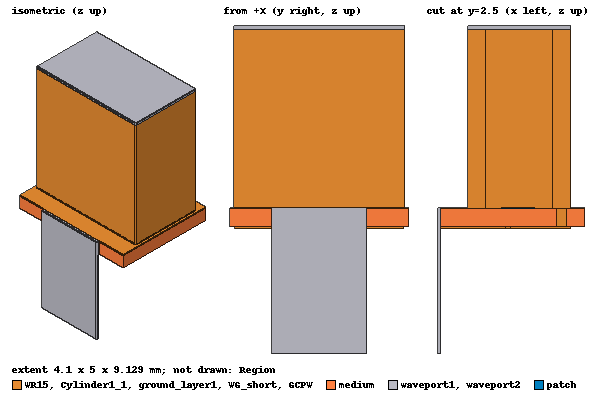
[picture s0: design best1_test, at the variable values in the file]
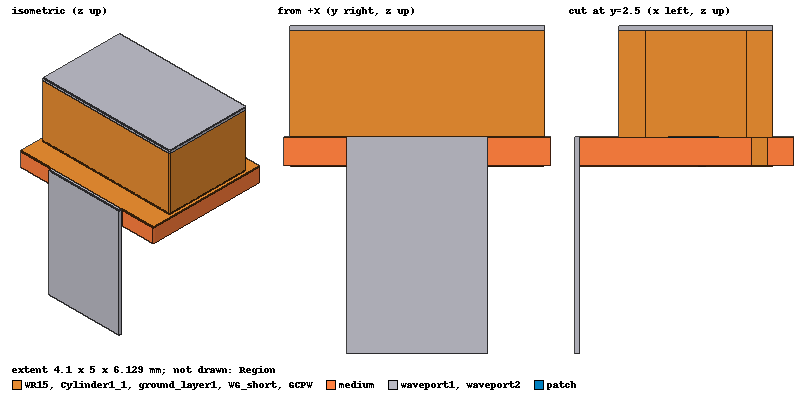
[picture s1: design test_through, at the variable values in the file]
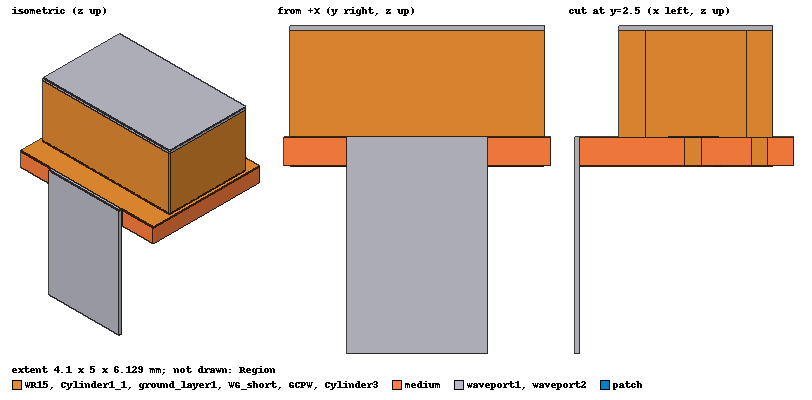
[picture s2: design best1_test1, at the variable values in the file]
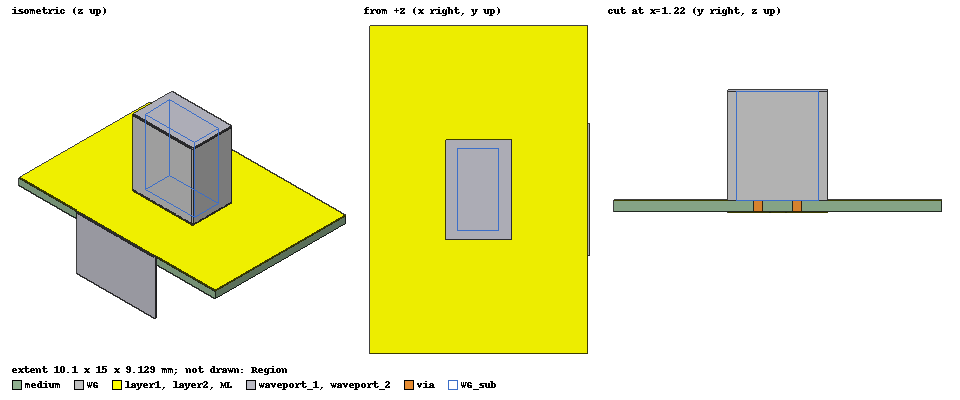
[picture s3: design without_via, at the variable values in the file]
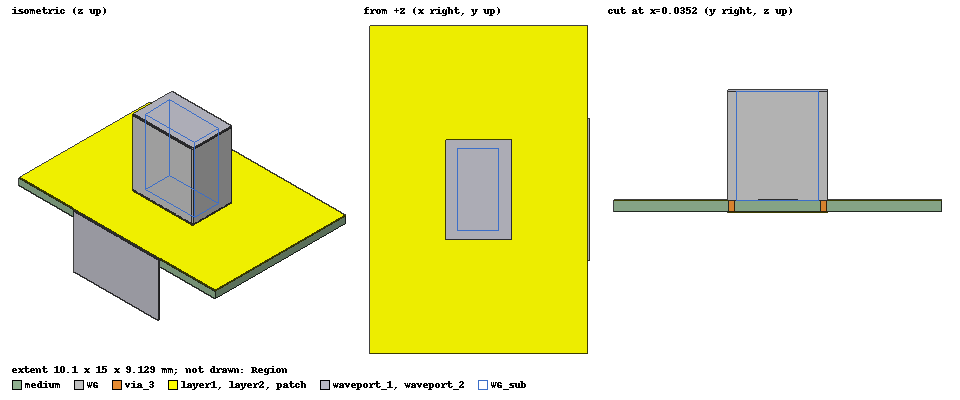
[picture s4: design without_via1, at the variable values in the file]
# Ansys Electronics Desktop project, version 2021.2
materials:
  Rogers RO4350 (tm): permittivity=3.66 dielectric_loss_tangent=0.004
  air: permittivity=1.0006 permeability=1.0000004
  copper: permeability=0.999991 conductivity=58000000
  pec: conductivity=1e+30
  vacuum: permittivity=1
  Rogers RO4003 (tm): permittivity=3.55 dielectric_loss_tangent=0.0027
  Material1: permittivity=2.2 dielectric_loss_tangent=0.001

design best (HFSS, DrivenModal, model units mm)
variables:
  m_width = 5mm
  m_length = 4mm
  line_thickness = 35um
  via_radius = 0.16mm
  WG_width = 3.76mm
  WG_high = 2mm
  WG_length = 1.88mm
  m_thickness = (20*0.0254) mm
  ML_length = 2mm
  ML_width = 0.53mm
  metal_thickness = 0.035mm
  WR_high = 2mm
  patch_length = 0.95mm
  patch_width = 2mm
  through_space = 0.3mm
  patch_WG_trough = 0.21mm
  WG_short = WG_length + via_radius*6
  WG_short_length = WG_short
  WG_short_width = WG_width + via_radius *6
  WG_thickness = 0.5mm
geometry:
  medium [Rogers RO4003 (tm)] = box(corner=(0mm, 0mm, 0mm), size=(m_length, m_width, m_thickness))
  GCPW = box(corner=(m_length - ML_length, ( m_width - ML_width ) / 2, -metal_thickness), size=(ML_length - 0.5 mm, ML_width, metal_thickness))
  WR15_sub = box(corner=(m_length - 2.9 mm - patch_WG_trough, ( m_width - WG_width ) / 2, m_thickness), size=(WG_length, WG_width, WG_high))
  WR15 [copper] = box(corner=(m_length -  2 mm- WG_thickness - 0.9 mm - patch_WG_trough, ( m_width - (WG_width + WG_thickness *2) ) / 2, m_thickness), size=(WG_length + WG_thickness *2, WG_width + WG_thickness *2, WG_high))
  ground_layer1 [copper] = box(corner=(0mm, 0mm, m_thickness), size=(m_length, m_width, line_thickness))
  patch [copper] = box(corner=(m_length - 2.4mm+ patch_WG_trough  - patch_WG_trough - 0.2mm, ( m_width - patch_width) / 2, m_thickness), size=(patch_length, patch_width, line_thickness))
  waveport1 [pec] = box(corner=(m_length -  2 mm - WG_thickness - 0.9 mm - patch_WG_trough, ( m_width - (WG_width + WG_thickness*2) ) / 2, m_thickness+WR_high), size=(WG_length + 2*WG_thickness, WG_width + 2*WG_thickness, 0.1mm))
  Rectangle1 = rectangle(corner=(m_length -  2.9 mm - patch_WG_trough -WG_thickness, ( m_width - WG_width ) / 2  -WG_thickness, m_thickness+WR_high), x_size=WG_length +WG_thickness*2, y_size=WG_width +WG_thickness*2)
  Rectangle2 = rectangle(corner=(m_length, (m_width - 5* 0.53 mm)/2, -8*m_thickness+m_thickness+line_thickness), y_size=5* 0.53 mm, z_size=8* m_thickness)
  waveport2 [pec] = box(corner=(m_length, (m_width - 5* 0.53 mm)/2, -8*m_thickness+m_thickness+line_thickness), size=(0.1mm, 5* 0.53 mm, 8*m_thickness))
  Region [air] = region(percentage_offset=20 on all sides)
  ML_trough = box(corner=(m_length - ML_length - through_space*0.5, ( m_width - ML_width ) / 2 - through_space, -line_thickness), size=(ML_length+ through_space*0.5, ML_width+ through_space*2, metal_thickness))
  WG_short [copper] = box(corner=(m_length -  3.4mm - patch_WG_trough, ( m_width - WG_short_width) / 2, -line_thickness), size=(WG_short_length, WG_short_width, line_thickness))
  ML_2 = GCPW.copy()
  ML_trough_1 = ML_trough.copy()
  ML_trough.delete()
  WG_short.subtract(ML_2, ML_trough_1)
  WR15_sub_1 = WR15_sub.copy()
  WR15.subtract(WR15_sub_1)
  WR15_1 = WR15.copy()
  WR15_sub_2 = WR15_sub.copy()
  WR15_sub.delete()
  ground_layer1.subtract(WR15_1, WR15_sub_2)
  Cylinder1 = cylinder(axis=Z, base_centre=(m_length -  3.15mm - patch_WG_trough, ( m_width - WG_short_width) / 2  + via_radius*1.5, 0), radius=via_radius, height=m_thickness)
  Cylinder1_1 [copper] = Cylinder1.duplicate_along_line(step=(0.4mm, 0mm, 0mm), total=7)  # copies kept: 1
  Cylinder1_7..Cylinder1_16 = Cylinder1.duplicate_along_line(step=(0mm, 0.41mm, 0mm), total=11)
  Cylinder1_7.unite(Cylinder1_8..Cylinder1_16, Cylinder1)
  Cylinder1_1_1..Cylinder1_1_5 = Cylinder1_1.duplicate_along_line(step=(0.4mm, 0mm, 0mm), total=6)
  Cylinder1_1_5_1, Cylinder1_1_5_2 = Cylinder1_1_5.duplicate_along_line(step=(0mm, 0.4mm, 0mm), total=3)
  Cylinder1_1.unite(Cylinder1_1_1..Cylinder1_1_5, Cylinder1_1_5_1, Cylinder1_1_5_2)
  Cylinder1_1_6 = Cylinder1_1.duplicate_mirror(point=(2.4mm, 2.5mm, 0mm), normal=(0mm, -1mm, 0mm))
  Cylinder2 [copper] = cylinder(axis=Z, base_centre=(3mm, ( m_width - ML_width )/2 - via_radius*1.6 - through_space, 0mm), radius=via_radius, height=m_thickness)
  Cylinder2_1 = Cylinder2.duplicate_mirror(point=(3.075mm, 2.5mm, 0mm), normal=(0mm, -1mm, 0mm))
  Cylinder2.unite(Cylinder2_1)
  Cylinder1_1_7 = Cylinder1_1.copy()
  Cylinder1_1_6_1 = Cylinder1_1_6.copy()
  Cylinder1_7_1 = Cylinder1_7.copy()
  Cylinder2_2 = Cylinder2.copy()
  medium.subtract(Cylinder1_1_7, Cylinder1_1_6_1, Cylinder1_7_1, Cylinder2_2)
  ML = box(corner=(m_length - 0.3 mm, ( m_width - 0.53 mm ) / 2, -metal_thickness), size=(0.3mm, 0.53mm, metal_thickness))
  GCPW_ML [copper] = rectangle(corner=(3.7mm, 2.235mm, -0.035mm), y_size=0.53mm, z_size=0.035mm)
  Rectangle4 = rectangle(corner=(3.5mm, 2.75mm, -0.035mm), y_size=-0.5mm, z_size=0.035mm)
  GCPW_ML.connect(Rectangle4)
  GCPW_ML.unite(GCPW, ML)
  Cylinder1_1.unite(Cylinder1_1_6, Cylinder1_7)
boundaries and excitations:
  Rad1: Radiation Objects=Region
  1: Wave Port Objects=Rectangle1 NumModes=1 Modes{Mode1{CharImp=Zpi}}
  2: Wave Port Objects=Rectangle2 NumModes=1 Modes{Mode1{CharImp=Zpi}}
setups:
  Setup2: HfssDriven Frequency=60GHz MaxDeltaS=0.02 MaximumPasses=6 MinimumPasses=1 MinimumConvergedPasses=1 PercentRefinement=30 BasisOrder=1 PortAccuracy=2
    sweep Sweep: 50GHz to 70GHz step 0.5GHz; Type=Interpolating InterpTolerance=0.5 InterpMaxSolns=250 InterpUsePortImped=false PassivityErrorTolerance=0.0001
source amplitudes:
  1:1: 1W 0deg
  2:1: 0W 0deg
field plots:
  Mag_E1: E Field in Region on Setup2 : LastAdaptive at Freq=60GHz Phase=0deg
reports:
  S Parameter Plot 1: dB(S(1,1)), dB(S(2,1)) vs Freq on Setup2 : Sweep; markers MX1 at x=5e+10, MX2 at x=6e+10, MX3 at x=6.5e+10, MY1 at y=-1, MY2 at y=-10

design best1_test (HFSS, DrivenModal, model units mm)
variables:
  m_width = 5mm
  m_length = 4mm
  line_thickness = 35um
  via_radius = 0.16mm
  WG_width = 3.76mm
  WG_high = 5mm
  WG_length = 1.88mm
  m_thickness = (20*0.0254) mm
  ML_length = 1.8mm
  ML_width = 0.7mm
  metal_thickness = 0.035mm
  WR_high = 5mm
  patch_length = 0.95mm
  patch_width = 2mm
  through_space = 0.15mm
  patch_WG_trough = 0.21mm
  WG_short = WG_length + via_radius*6
  WG_short_length = WG_short
  WG_short_width = WG_width + via_radius *6
  WG_thickness = 0.5mm
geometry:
  medium [Rogers RO4003 (tm)] = box(corner=(0mm, 0mm, 0mm), size=(m_length, m_width, m_thickness))
  GCPW [copper] = box(corner=(m_length - ML_length, ( m_width - ML_width ) / 2, -metal_thickness), size=(ML_length - 0.5 mm, ML_width, metal_thickness))
  WR15_sub = box(corner=(m_length - 2.9 mm - patch_WG_trough, ( m_width - WG_width ) / 2, m_thickness), size=(WG_length, WG_width, WG_high))
  WR15 [copper] = box(corner=(m_length -  2 mm- WG_thickness - 0.9 mm - patch_WG_trough, ( m_width - (WG_width + WG_thickness *2) ) / 2, m_thickness), size=(WG_length + WG_thickness *2, WG_width + WG_thickness *2, WG_high))
  ground_layer1 [copper] = box(corner=(0mm, 0mm, m_thickness), size=(m_length, m_width, line_thickness))
  patch [copper] = box(corner=(m_length - 2.6 mm - (patch_length-0.95mm)/2, ( m_width - patch_width) / 2, m_thickness), size=(patch_length, patch_width, line_thickness))
  waveport1 [pec] = box(corner=(m_length -  2 mm - WG_thickness - 0.9 mm - patch_WG_trough, ( m_width - (WG_width + WG_thickness*2) ) / 2, m_thickness+WR_high), size=(WG_length + 2*WG_thickness, WG_width + 2*WG_thickness, 0.1mm))
  Rectangle1 = rectangle(corner=(m_length -  2.9 mm - patch_WG_trough -WG_thickness, ( m_width - WG_width ) / 2  -WG_thickness, m_thickness+WR_high), x_size=WG_length +WG_thickness*2, y_size=WG_width +WG_thickness*2)
  Rectangle2 = rectangle(corner=(m_length, (m_width - 5* 0.53 mm)/2, -8*m_thickness+m_thickness+line_thickness), y_size=5* 0.53 mm, z_size=8* m_thickness)
  waveport2 [pec] = box(corner=(m_length, (m_width - 5* 0.53 mm)/2, -8*m_thickness+m_thickness+line_thickness), size=(0.1mm, 5* 0.53 mm, 8*m_thickness))
  Region [air] = region(percentage_offset=20 on all sides)
  ML_trough = box(corner=(m_length - ML_length - through_space*1, ( m_width - ML_width ) / 2 - through_space, -line_thickness), size=(ML_length+ through_space*1, ML_width+ through_space*2, metal_thickness))
  WG_short [copper] = box(corner=(m_length -  3.4mm - patch_WG_trough, ( m_width - WG_short_width) / 2, -line_thickness), size=(WG_short_length, WG_short_width, line_thickness))
  ML_2 = GCPW.copy()
  ML_trough_1 = ML_trough.copy()
  ML_trough.delete()
  WG_short.subtract(ML_2, ML_trough_1)
  WR15_sub_1 = WR15_sub.copy()
  WR15.subtract(WR15_sub_1)
  WR15_1 = WR15.copy()
  WR15_sub_2 = WR15_sub.copy()
  WR15_sub.delete()
  ground_layer1.subtract(WR15_1, WR15_sub_2)
  Cylinder1 = cylinder(axis=Z, base_centre=(m_length -  3.15mm - patch_WG_trough, ( m_width - WG_short_width) / 2  + via_radius*1.5, 0), radius=via_radius, height=m_thickness)
  Cylinder1_1 [copper] = Cylinder1.duplicate_along_line(step=(0.4mm, 0mm, 0mm), total=7)  # copies kept: 1
  Cylinder1_7..Cylinder1_16 = Cylinder1.duplicate_along_line(step=(0mm, 0.41mm, 0mm), total=11)
  Cylinder1_7.unite(Cylinder1_8..Cylinder1_16, Cylinder1)
  Cylinder1_1_1..Cylinder1_1_5 = Cylinder1_1.duplicate_along_line(step=(0.4mm, 0mm, 0mm), total=6)
  Cylinder1_1_5_1, Cylinder1_1_5_2 = Cylinder1_1_5.duplicate_along_line(step=(0mm, 0.4mm, 0mm), total=3)
  Cylinder1_1.unite(Cylinder1_1_1..Cylinder1_1_5, Cylinder1_1_5_1, Cylinder1_1_5_2)
  Cylinder1_1_6 = Cylinder1_1.duplicate_mirror(point=(2.4mm, 2.5mm, 0mm), normal=(0mm, -1mm, 0mm))
  ML = box(corner=(m_length - 0.5 mm, ( m_width -ML_width ) / 2, -metal_thickness), size=(0.5mm, ML_width, metal_thickness))
  Cylinder1_1.unite(Cylinder1_1_6, Cylinder1_7)
  Cylinder1_1_7 = Cylinder1_1.copy()
  medium.subtract(Cylinder1_1_7)
  GCPW.unite(ML)
  Cylinder2 [copper] = cylinder(axis=Z, base_centre=(3.05mm, ( m_width - ML_width )/2 - via_radius*1.4 - through_space, 0mm), radius=via_radius, height=m_thickness)
  Cylinder2_1 = Cylinder2.duplicate_mirror(point=(3.075mm, 2.5mm, 0mm), normal=(0mm, -1mm, 0mm))
  Cylinder2.unite(Cylinder2_1)
  Cylinder2_2 = Cylinder2.copy()
  medium.subtract(Cylinder2_2)
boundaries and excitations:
  Rad1: Radiation Objects=Region
  1: Wave Port Objects=Rectangle1 NumModes=1 Modes{Mode1{CharImp=Zpi}}
  2: Wave Port Objects=Rectangle2 NumModes=1 Modes{Mode1{CharImp=Zpi}}
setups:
  Setup2: HfssDriven Frequency=60GHz MaxDeltaS=0.02 MaximumPasses=10 MinimumPasses=1 MinimumConvergedPasses=1 PercentRefinement=30 BasisOrder=1 PortAccuracy=2
    sweep Sweep: 50GHz to 70GHz step 0.5GHz; Type=Interpolating InterpTolerance=0.5 InterpMaxSolns=250 InterpUsePortImped=false PassivityErrorTolerance=0.0001
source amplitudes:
  1:1: 1W 0deg
  2:1: 0W 0deg
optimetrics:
  ParametricSetup5: Parametric Sim._Setups=[Setup2]
    sweep ML_length: LIN 1.6mm 1.8mm 0.1mm
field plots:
  Mag_E1: E Field in Region on Setup2 : LastAdaptive at Freq=60GHz Phase=0deg
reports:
  S Parameter Plot 1: dB(S(2,1)) vs Freq on Setup2 : Sweep [ML_length=all ML_width=all through_space=all]

design test_through (HFSS, DrivenModal, model units mm)
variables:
  m_width = 5mm
  m_length = 4mm
  line_thickness = 35um
  via_radius = 0.16mm
  WG_width = 3.76mm
  WG_high = 2mm
  WG_length = 1.88mm
  m_thickness = (20*0.0254) mm
  ML_length = 2.2mm
  ML_width = 0.69mm
  metal_thickness = 0.035mm
  WR_high = 2mm
  patch_length = 0.95mm
  patch_width = 2mm
  through_space = 0.3mm
  patch_WG_trough = 0.21mm
  WG_short = WG_length + via_radius*6
  WG_short_length = WG_short
  WG_short_width = WG_width + via_radius *6
  WG_thickness = 0.5mm
  ML_short_dis = through_space mm
  x_ML_short = 0.15mm
  y_ML_short = 0.6mm
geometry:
  medium [Rogers RO4003 (tm)] = box(corner=(0mm, 0mm, 0mm), size=(m_length, m_width, m_thickness))
  GCPW [copper] = box(corner=(m_length - ML_length, ( m_width - ML_width ) / 2, -metal_thickness), size=(ML_length - 0.5 mm, ML_width, metal_thickness))
  WR15_sub = box(corner=(m_length - 2.9 mm - patch_WG_trough, ( m_width - WG_width ) / 2, m_thickness), size=(WG_length, WG_width, WG_high))
  WR15 [copper] = box(corner=(m_length -  2 mm- WG_thickness - 0.9 mm - patch_WG_trough, ( m_width - (WG_width + WG_thickness *2) ) / 2, m_thickness), size=(WG_length + WG_thickness *2, WG_width + WG_thickness *2, WG_high))
  ground_layer1 [copper] = box(corner=(0mm, 0mm, m_thickness), size=(m_length, m_width, line_thickness))
  patch [copper] = box(corner=(m_length - 2.4mm+ patch_WG_trough  - patch_WG_trough - 0.2mm, ( m_width - patch_width) / 2, m_thickness), size=(patch_length, patch_width, line_thickness))
  waveport1 [pec] = box(corner=(m_length -  2 mm - WG_thickness - 0.9 mm - patch_WG_trough, ( m_width - (WG_width + WG_thickness*2) ) / 2, m_thickness+WR_high), size=(WG_length + 2*WG_thickness, WG_width + 2*WG_thickness, 0.1mm))
  Rectangle1 = rectangle(corner=(m_length -  2.9 mm - patch_WG_trough -WG_thickness, ( m_width - WG_width ) / 2  -WG_thickness, m_thickness+WR_high), x_size=WG_length +WG_thickness*2, y_size=WG_width +WG_thickness*2)
  Rectangle2 = rectangle(corner=(m_length, (m_width - 5* 0.53 mm)/2, -8*m_thickness+m_thickness+line_thickness), y_size=5* 0.53 mm, z_size=8* m_thickness)
  waveport2 [pec] = box(corner=(m_length, (m_width - 5* 0.53 mm)/2, -8*m_thickness+m_thickness+line_thickness), size=(0.1mm, 5* 0.53 mm, 8*m_thickness))
  Region [air] = region(percentage_offset=20 on all sides)
  ML_trough = box(corner=(m_length - ML_length - x_ML_short, ( m_width - ML_width ) / 2 - through_space, -line_thickness), size=(ML_length+ x_ML_short, ML_width+ y_ML_short, metal_thickness))
  WG_short [copper] = box(corner=(m_length -  3.4mm - patch_WG_trough, ( m_width - WG_short_width) / 2, -line_thickness), size=(WG_short_length, WG_short_width, line_thickness))
  ML_2 = GCPW.copy()
  ML_trough_1 = ML_trough.copy()
  ML_trough.delete()
  WG_short.subtract(ML_2, ML_trough_1)
  WR15_sub_1 = WR15_sub.copy()
  WR15.subtract(WR15_sub_1)
  WR15_1 = WR15.copy()
  WR15_sub_2 = WR15_sub.copy()
  WR15_sub.delete()
  ground_layer1.subtract(WR15_1, WR15_sub_2)
  Cylinder1 = cylinder(axis=Z, base_centre=(m_length -  3.15mm - patch_WG_trough, ( m_width - WG_short_width) / 2  + via_radius*1.5, 0), radius=via_radius, height=m_thickness)
  Cylinder1_1 [copper] = Cylinder1.duplicate_along_line(step=(0.4mm, 0mm, 0mm), total=7)  # copies kept: 1
  Cylinder1_7..Cylinder1_16 = Cylinder1.duplicate_along_line(step=(0mm, 0.41mm, 0mm), total=11)
  Cylinder1_7.unite(Cylinder1_8..Cylinder1_16, Cylinder1)
  Cylinder1_1_1..Cylinder1_1_5 = Cylinder1_1.duplicate_along_line(step=(0.4mm, 0mm, 0mm), total=6)
  Cylinder1_1_5_1, Cylinder1_1_5_2 = Cylinder1_1_5.duplicate_along_line(step=(0mm, 0.4mm, 0mm), total=3)
  Cylinder1_1.unite(Cylinder1_1_1..Cylinder1_1_5, Cylinder1_1_5_1, Cylinder1_1_5_2)
  Cylinder1_1_6 = Cylinder1_1.duplicate_mirror(point=(2.4mm, 2.5mm, 0mm), normal=(0mm, -1mm, 0mm))
  ML = box(corner=(m_length - 0.5 mm, ( m_width -ML_width ) / 2, -metal_thickness), size=(0.5mm, ML_width, metal_thickness))
  Cylinder1_1.unite(Cylinder1_1_6, Cylinder1_7)
  Cylinder1_1_7 = Cylinder1_1.copy()
  medium.subtract(Cylinder1_1_7)
  GCPW.unite(ML)
  Cylinder2 [copper] = cylinder(axis=Z, base_centre=(3mm, ( m_width - ML_width )/2 - via_radius*1.6 - through_space, 0mm), radius=via_radius, height=m_thickness)
  Cylinder2_1 = Cylinder2.duplicate_mirror(point=(3.075mm, 2.5mm, 0mm), normal=(0mm, -1mm, 0mm))
  Cylinder2.unite(Cylinder2_1)
  Cylinder2_2 = Cylinder2.copy()
  medium.subtract(Cylinder2_2)
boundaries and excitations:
  Rad1: Radiation Objects=Region
  1: Wave Port Objects=Rectangle1 NumModes=1 Modes{Mode1{CharImp=Zpi}}
  2: Wave Port Objects=Rectangle2 NumModes=1 Modes{Mode1{CharImp=Zpi}}
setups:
  Setup2: HfssDriven Frequency=60GHz MaxDeltaS=0.02 MaximumPasses=10 MinimumPasses=1 MinimumConvergedPasses=1 PercentRefinement=30 BasisOrder=1 PortAccuracy=2
    sweep Sweep: 50GHz to 70GHz step 0.5GHz; Type=Interpolating InterpTolerance=0.5 InterpMaxSolns=250 InterpUsePortImped=false PassivityErrorTolerance=0.0001
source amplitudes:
  1:1: 1W 0deg
  2:1: 0W 0deg
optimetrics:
  ParametricSetup1: Parametric Sim._Setups=[Setup2]
    sweep ML_width: 0.69mm 0.56mm 0.44mm
    sweep x_ML_short: LIN 0.1mm 0.3mm 0.05mm
    sweep y_ML_short: LIN 0.5mm 0.7mm 0.05mm
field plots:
  Mag_E1: E Field in Region on Setup2 : LastAdaptive at Freq=60GHz Phase=0deg
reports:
  S Parameter Plot 1: dB(S(1,1)), dB(S(2,1)) vs Freq on Setup2 : Sweep
  S Parameter Plot 2: dB(S(2,1)) vs Freq on Setup2 : Sweep [ML_width=all x_ML_short=all y_ML_short=all]

design best1_test1 (HFSS, DrivenModal, model units mm)
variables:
  m_width = 5mm
  m_length = 4mm
  line_thickness = 35um
  via_radius = 0.16mm
  WG_width = 3.76mm
  WG_high = 2mm
  WG_length = 1.88mm
  m_thickness = (20*0.0254) mm
  ML_length = 2.5mm
  ML_width = 0.7mm
  metal_thickness = 0.035mm
  WR_high = 2mm
  patch_length = 0.95mm
  patch_width = 2mm
  through_space = 0.3mm
  patch_WG_trough = 0.21mm
  WG_short = WG_length + via_radius*6
  WG_short_length = WG_short
  WG_short_width = WG_width + via_radius *6
  WG_thickness = 0.5mm
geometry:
  medium [Rogers RO4003 (tm)] = box(corner=(0mm, 0mm, 0mm), size=(m_length, m_width, m_thickness))
  GCPW [copper] = box(corner=(m_length - ML_length, ( m_width - ML_width ) / 2, -metal_thickness), size=(ML_length - 0.5 mm, ML_width, metal_thickness))
  WR15_sub = box(corner=(m_length - 2.9 mm - patch_WG_trough, ( m_width - WG_width ) / 2, m_thickness), size=(WG_length, WG_width, WG_high))
  WR15 [copper] = box(corner=(m_length -  2 mm- WG_thickness - 0.9 mm - patch_WG_trough, ( m_width - (WG_width + WG_thickness *2) ) / 2, m_thickness), size=(WG_length + WG_thickness *2, WG_width + WG_thickness *2, WG_high))
  ground_layer1 [copper] = box(corner=(0mm, 0mm, m_thickness), size=(m_length, m_width, line_thickness))
  patch [copper] = box(corner=(m_length - 2.4mm+ patch_WG_trough  - patch_WG_trough - 0.2mm, ( m_width - patch_width) / 2, m_thickness), size=(patch_length, patch_width, line_thickness))
  waveport1 [pec] = box(corner=(m_length -  2 mm - WG_thickness - 0.9 mm - patch_WG_trough, ( m_width - (WG_width + WG_thickness*2) ) / 2, m_thickness+WR_high), size=(WG_length + 2*WG_thickness, WG_width + 2*WG_thickness, 0.1mm))
  Rectangle1 = rectangle(corner=(m_length -  2.9 mm - patch_WG_trough -WG_thickness, ( m_width - WG_width ) / 2  -WG_thickness, m_thickness+WR_high), x_size=WG_length +WG_thickness*2, y_size=WG_width +WG_thickness*2)
  Rectangle2 = rectangle(corner=(m_length, (m_width - 5* 0.53 mm)/2, -8*m_thickness+m_thickness+line_thickness), y_size=5* 0.53 mm, z_size=8* m_thickness)
  waveport2 [pec] = box(corner=(m_length, (m_width - 5* 0.53 mm)/2, -8*m_thickness+m_thickness+line_thickness), size=(0.1mm, 5* 0.53 mm, 8*m_thickness))
  Region [air] = region(percentage_offset=20 on all sides)
  ML_trough = box(corner=(m_length - ML_length - through_space*0.5, ( m_width - ML_width ) / 2 - through_space, -line_thickness), size=(ML_length+ through_space*0.5, ML_width+ through_space*2, metal_thickness))
  WG_short [copper] = box(corner=(m_length -  3.4mm - patch_WG_trough, ( m_width - WG_short_width) / 2, -line_thickness), size=(WG_short_length, WG_short_width, line_thickness))
  ML_2 = GCPW.copy()
  ML_trough_1 = ML_trough.copy()
  ML_trough.delete()
  WG_short.subtract(ML_2, ML_trough_1)
  WR15_sub_1 = WR15_sub.copy()
  WR15.subtract(WR15_sub_1)
  WR15_1 = WR15.copy()
  WR15_sub_2 = WR15_sub.copy()
  WR15_sub.delete()
  ground_layer1.subtract(WR15_1, WR15_sub_2)
  Cylinder1 = cylinder(axis=Z, base_centre=(m_length -  3.15mm - patch_WG_trough, ( m_width - WG_short_width) / 2  + via_radius*1.5, 0), radius=via_radius, height=m_thickness)
  Cylinder1_1 [copper] = Cylinder1.duplicate_along_line(step=(0.4mm, 0mm, 0mm), total=7)  # copies kept: 1
  Cylinder1_7..Cylinder1_16 = Cylinder1.duplicate_along_line(step=(0mm, 0.41mm, 0mm), total=11)
  Cylinder1_7.unite(Cylinder1_8..Cylinder1_16, Cylinder1)
  Cylinder1_1_1..Cylinder1_1_5 = Cylinder1_1.duplicate_along_line(step=(0.4mm, 0mm, 0mm), total=6)
  Cylinder1_1_5_1, Cylinder1_1_5_2 = Cylinder1_1_5.duplicate_along_line(step=(0mm, 0.4mm, 0mm), total=3)
  Cylinder1_1.unite(Cylinder1_1_1..Cylinder1_1_5, Cylinder1_1_5_1, Cylinder1_1_5_2)
  Cylinder1_1_6 = Cylinder1_1.duplicate_mirror(point=(2.4mm, 2.5mm, 0mm), normal=(0mm, -1mm, 0mm))
  ML = box(corner=(m_length - 0.5 mm, ( m_width -ML_width ) / 2, -metal_thickness), size=(0.5mm, ML_width, metal_thickness))
  Cylinder1_1.unite(Cylinder1_1_6, Cylinder1_7)
  Cylinder1_1_7 = Cylinder1_1.copy()
  medium.subtract(Cylinder1_1_7)
  GCPW.unite(ML)
  Cylinder2 [copper] = cylinder(axis=Z, base_centre=(3mm, ( m_width - ML_width )/2 - via_radius*1.6 - through_space, 0mm), radius=via_radius, height=m_thickness)
  Cylinder2_1 = Cylinder2.duplicate_mirror(point=(3.075mm, 2.5mm, 0mm), normal=(0mm, -1mm, 0mm))
  Cylinder2.unite(Cylinder2_1)
  Cylinder2_2 = Cylinder2.copy()
  medium.subtract(Cylinder2_2)
  Cylinder3 [copper] = cylinder(axis=Z, base_centre=(3mm, ( m_width - ML_width )/2 - via_radius*1.6 - through_space, 0mm), radius=via_radius, height=m_thickness)
  Cylinder3.move(-1.125mm, 0.9mm, 0mm)
  Cylinder3_1 = Cylinder3.copy()
  medium.subtract(Cylinder3_1)
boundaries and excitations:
  Rad1: Radiation Objects=Region
  1: Wave Port Objects=Rectangle1 NumModes=1 Modes{Mode1{CharImp=Zpi}}
  2: Wave Port Objects=Rectangle2 NumModes=1 Modes{Mode1{CharImp=Zpi}}
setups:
  Setup2: HfssDriven Frequency=60GHz MaxDeltaS=0.02 MaximumPasses=10 MinimumPasses=1 MinimumConvergedPasses=1 PercentRefinement=30 BasisOrder=1 PortAccuracy=2
    sweep Sweep: 50GHz to 70GHz step 0.5GHz; Type=Interpolating InterpTolerance=0.5 InterpMaxSolns=250 InterpUsePortImped=false PassivityErrorTolerance=0.0001
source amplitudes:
  1:1: 1W 0deg
  2:1: 0W 0deg
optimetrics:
  ParametricSetup1: Parametric Sim._Setups=[Setup2]
    sweep patch_length: LIN 0.8mm 1.1mm 0.05mm
    sweep patch_width: LIN 1.5mm 2.5mm 0.5mm
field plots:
  Mag_E1: E Field in Region on Setup2 : LastAdaptive at Freq=60GHz Phase=0deg
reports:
  S Parameter Plot 1: dB(S(1,1)), dB(S(2,1)) vs Freq on Setup2 : Sweep

design without_via (HFSS, DrivenModal, model units mm)
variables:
  m_thickness = (20*0.0254) mm
  m_length = 10mm
  m_width = 15mm
  WG_high = 5mm
  WG_length = 1.8796mm
  WG_width = 3.7592mm
  layer1_length = (2.8 +0.2) mm
  layer1_width = (4.4 +0.2) mm
  line_thickness = 0.035mm
  ML_width = 0.6mm
  g = 0.1mm
  patch_length = 1.12mm
  patch_width = 1.8mm
  layer2_sub_width = ML_width +2*g
  layer2_sub_length = m_length / 2  - 0.3mm
  ML_length = layer2_sub_length - g
  via_radius = 0.2mm
  C = 0.28mm
  D = 0.5mm
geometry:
  medium [Rogers RO4003 (tm)] = box(corner=(-m_length/2, - m_width /2, -m_thickness / 2), size=(m_length, m_width, m_thickness))
  WG_sub [air] = box(corner=(-WG_length / 2, - WG_width/2, m_thickness / 2), size=(WG_length, WG_width, WG_high))
  layer2 [copper] = box(corner=(-layer1_length/2, - layer1_width /2, - m_thickness / 2 -line_thickness), size=(layer1_length, layer1_width, line_thickness))
  layer1 [copper] = box(corner=(-m_length/2, - m_width /2, m_thickness / 2), size=(m_length, m_width, line_thickness))
  WG [copper] = box(corner=(-layer1_length/2, - layer1_width /2, m_thickness / 2), size=(layer1_length, layer1_width, WG_high))
  layer2_sub = box(corner=(0.3mm, - layer2_sub_width /2, - m_thickness / 2 -line_thickness), size=(layer2_sub_length, layer2_sub_width, line_thickness))
  patch [copper] = box(corner=(-patch_length/2, - patch_width /2, m_thickness / 2), size=(patch_length, patch_width, line_thickness))
  ML [copper] = box(corner=(0.3mm + g, - ML_width /2, - m_thickness / 2 -line_thickness), size=(ML_length, ML_width, line_thickness))
  via [copper] = cylinder(axis=Z, base_centre=(WG_length / 2 + C, - layer2_sub_width / 2 - D, -m_thickness/2), radius=via_radius, height=m_thickness)
  via_1 = via.duplicate_mirror(point=(1.055mm, 0mm, 0mm), normal=(0mm, 1mm, 0mm))
  via.unite(via_1)
  WG_sub_1 = WG_sub.copy()
  layer1.subtract(WG_sub_1)
  WG_sub_2 = WG_sub.copy()
  WG.subtract(WG_sub_2)
  layer2.subtract(layer2_sub)
  via_2 = via.copy()
  medium.subtract(via_2)
  waveport1 = rectangle(corner=(m_length/2, -10*ML_width/2, m_thickness/2 + line_thickness), y_size=10*ML_width, z_size=-8*m_thickness)
  waveport_1 [pec] = box(corner=(m_length/2, -10*ML_width/2, m_thickness/2 + line_thickness), size=(0.1mm, 10*ML_width, -8*m_thickness))
  waveport2 = rectangle(corner=(-WG_length/2, -WG_width/2, m_thickness/2 + WG_high), x_size=WG_length, y_size=WG_width)
  waveport_2 [pec] = box(corner=(-layer1_length/2, -layer1_width/2, m_thickness/2+WG_high), size=(layer1_length, layer1_width, 0.1mm))
  Region [air] = region(percentage_offset=50 on all sides)
  WG_1 = WG.copy()
  layer1.subtract(WG_1)
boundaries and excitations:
  Rad1: Radiation Objects=Region
  1: Wave Port Objects=waveport1 NumModes=1 Modes{Mode1{CharImp=Zpi}}
  2: Wave Port Objects=waveport2 NumModes=1 Modes{Mode1{CharImp=Zpi}}
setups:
  Setup1: HfssDriven Frequency=60GHz MaxDeltaS=0.02 MaximumPasses=6 MinimumPasses=1 MinimumConvergedPasses=1 PercentRefinement=30 BasisOrder=1 PortAccuracy=2
    sweep Sweep: 50GHz to 70GHz step 0.5GHz; Type=Interpolating InterpTolerance=0.5 InterpMaxSolns=250 InterpUsePortImped=false PassivityErrorTolerance=0.0001
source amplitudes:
  1:1: 1W 0deg
  2:1: 0W 0deg
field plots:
  Mag_E3: E Field in Region on Setup1 : LastAdaptive at Freq=60GHz Phase=0deg
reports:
  S Parameter Plot 1: dB(S(1,1)), dB(S(2,1)) vs Freq on Setup1 : Sweep

design without_via1 (HFSS, DrivenModal, model units mm)
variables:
  m_thickness = (20*0.0254) mm
  m_length = 10mm
  m_width = 15mm
  WG_high = 5mm
  WG_length = 1.8796mm
  WG_width = 3.7592mm
  layer1_length = (2.8 +0.2) mm
  layer1_width = (4.4 +0.2) mm
  line_thickness = 0.035mm
  ML_width = 0.65mm
  g = 0.1mm
  patch_length = 1.12mm
  patch_width = 1.8mm
  layer2_sub_width = ML_width +2*g
  layer2_sub_length = m_length / 2  - 0.3mm
  ML_length = layer2_sub_length - g
  via_radius = 0.15mm
  C = 0.28mm
  D = 0.25mm
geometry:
  medium [Rogers RO4003 (tm)] = box(corner=(-m_length/2, - m_width /2, -m_thickness / 2), size=(m_length, m_width, m_thickness))
  WG_sub [air] = box(corner=(-WG_length / 2, - WG_width/2, m_thickness / 2), size=(WG_length, WG_width, WG_high))
  layer2 [copper] = box(corner=(-layer1_length/2, - layer1_width /2, - m_thickness / 2 -line_thickness), size=(layer1_length, layer1_width, line_thickness))
  layer1 [copper] = box(corner=(-m_length/2, - m_width /2, m_thickness / 2), size=(m_length, m_width, line_thickness))
  WG [copper] = box(corner=(-layer1_length/2, - layer1_width /2, m_thickness / 2), size=(layer1_length, layer1_width, WG_high))
  layer2_sub = box(corner=(0.3mm, - layer2_sub_width /2, - m_thickness / 2 -line_thickness), size=(layer2_sub_length, layer2_sub_width, line_thickness))
  patch [copper] = box(corner=(-patch_length/2, - patch_width /2, m_thickness / 2), size=(patch_length, patch_width, line_thickness))
  ML [copper] = box(corner=(0.3mm + g, - ML_width /2, - m_thickness / 2 -line_thickness), size=(ML_length, ML_width, line_thickness))
  via [copper] = cylinder(axis=Z, base_centre=(WG_length / 2 + C, - layer2_sub_width / 2 - D, -m_thickness/2), radius=via_radius, height=m_thickness)
  via_1 = via.duplicate_mirror(point=(1.055mm, 0mm, 0mm), normal=(0mm, 1mm, 0mm))
  via.unite(via_1)
  WG_sub_1 = WG_sub.copy()
  layer1.subtract(WG_sub_1)
  WG_sub_2 = WG_sub.copy()
  WG.subtract(WG_sub_2)
  layer2.subtract(layer2_sub)
  via_2 = via.copy()
  medium.subtract(via_2)
  waveport1 = rectangle(corner=(m_length/2, -10*ML_width/2, m_thickness/2 + line_thickness), y_size=10*ML_width, z_size=-8*m_thickness)
  waveport_1 [pec] = box(corner=(m_length/2, -10*ML_width/2, m_thickness/2 + line_thickness), size=(0.1mm, 10*ML_width, -8*m_thickness))
  waveport2 = rectangle(corner=(-WG_length/2, -WG_width/2, m_thickness/2 + WG_high), x_size=WG_length, y_size=WG_width)
  waveport_2 [pec] = box(corner=(-layer1_length/2, -layer1_width/2, m_thickness/2+WG_high), size=(layer1_length, layer1_width, 0.1mm))
  Region [air] = region(percentage_offset=50 on all sides)
  WG_1 = WG.copy()
  layer1.subtract(WG_1)
  via_3 [copper] = cylinder(axis=Z, base_centre=(- WG_length/2 - via_radius*1.5, -WG_width/2 - via_radius*1.5, - m_thickness/2), radius=via_radius, height=m_thickness)
  via_3_1..via_3_10 = via_3.duplicate_along_line(step=(0mm, 0.4mm, 0mm), total=11)
  via_3_11..via_3_16 = via_3.duplicate_along_line(step=(0.4mm, 0mm, 0mm), total=7)
  via_3_16_1 = via_3_16.duplicate_mirror(point=(0mm, 0mm, 0mm), normal=(0mm, 1mm, 0mm))
  via_3_11_1 = via_3_11.duplicate_mirror(point=(0mm, 0mm, 0mm), normal=(0mm, 1mm, 0mm))
  via_3_12_1 = via_3_12.duplicate_mirror(point=(0mm, 0mm, 0mm), normal=(0mm, 1mm, 0mm))
  via_3_13_1 = via_3_13.duplicate_mirror(point=(0mm, 0mm, 0mm), normal=(0mm, 1mm, 0mm))
  via_3_14_1 = via_3_14.duplicate_mirror(point=(0mm, 0mm, 0mm), normal=(0mm, 1mm, 0mm))
  via_3_15_1 = via_3_15.duplicate_mirror(point=(0mm, 0mm, 0mm), normal=(0mm, 1mm, 0mm))
  via_3_16_2, via_3_16_3 = via_3_16.duplicate_along_line(step=(0mm, 0.4mm, 0mm), total=3)
  via_3_16_2_1 = via_3_16_2.duplicate_mirror(point=(1.2mm, 0mm, 0mm), normal=(0mm, 1mm, 0mm))
  via_3_16_3_1 = via_3_16_3.duplicate_mirror(point=(1.2mm, 0mm, 0mm), normal=(0mm, 1mm, 0mm))
  via_3.unite(via_3_1..via_3_11, via_3_11_1, via_3_12, via_3_12_1, via_3_13, via_3_13_1, via_3_14, via_3_14_1, via_3_15, via_3_15_1, via_3_16, via_3_16_1, via_3_16_2, via_3_16_2_1, via_3_16_3, via_3_16_3_1)
  via_3_17 = via_3.copy()
  medium.subtract(via_3_17)
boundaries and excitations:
  Rad1: Radiation Objects=Region
  1: Wave Port Objects=waveport1 NumModes=1 Modes{Mode1{CharImp=Zpi}}
  2: Wave Port Objects=waveport2 NumModes=1 Modes{Mode1{CharImp=Zpi}}
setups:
  Setup1: HfssDriven Frequency=60GHz MaxDeltaS=0.02 MaximumPasses=6 MinimumPasses=1 MinimumConvergedPasses=1 PercentRefinement=30 BasisOrder=1 PortAccuracy=2
    sweep Sweep: 50GHz to 70GHz step 0.5GHz; Type=Interpolating InterpTolerance=0.5 InterpMaxSolns=250 InterpUsePortImped=false PassivityErrorTolerance=0.0001
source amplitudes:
  1:1: 1W 0deg
  2:1: 0W 0deg
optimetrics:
  ParametricSetup1: Parametric Sim._Setups=[Setup1]
    sweep patch_length: LIN 0.8mm 1.2mm 0.1mm
    sweep patch_width: LIN 1.6mm 2mm 0.1mm
    sweep g: LIN 0.1mm 0.2mm 0.05mm
    sweep ML_width: LIN 0.55mm 0.65mm 0.05mm
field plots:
  Mag_E3: E Field in Region on Setup1 : LastAdaptive at Freq=60GHz Phase=0deg
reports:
  S Parameter Plot 1: dB(S(1,1)), dB(S(2,1)) vs Freq on Setup1 : Sweep
  S Parameter Plot 2: dB(S(2,1)) vs Freq on Setup1 : Sweep [ML_width=all g=all patch_length=all patch_width=all]
